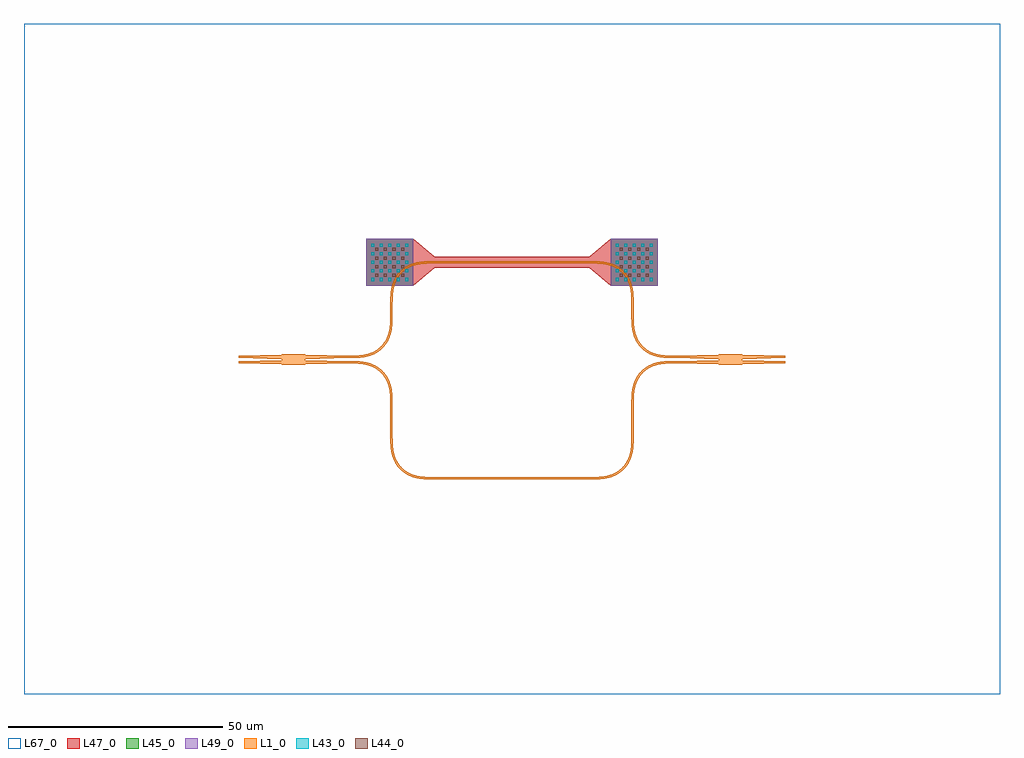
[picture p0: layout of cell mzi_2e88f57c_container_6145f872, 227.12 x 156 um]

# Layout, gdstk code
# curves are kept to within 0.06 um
from math import pi, radians
import gdstk
lib = gdstk.Library(unit=1e-6, precision=1e-09)
def R(c, l, rs):  # rectangles x0, y0, x1, y1
    for r in rs: c.add(gdstk.rectangle(r[:2], r[2:], *l))
def P(c, l, *ps):  # polygons
    for p in ps: c.add(gdstk.Polygon(p, *l))
L1_0 = (1, 0)
L43_0 = (43, 0)
L44_0 = (44, 0)
L45_0 = (45, 0)
L47_0 = (47, 0)
L49_0 = (49, 0)
L67_0 = (67, 0)

mmi2x2 = lib.new_cell('mmi2x2')
R(mmi2x2, L1_0, [(0,-1.25,5.5,1.25)])
P(mmi2x2, L1_0, [(-10,-0.375),(0,-0.125),(0,-1.125),(-10,-0.875)],
  [(-10,0.875),(0,1.125),(0,0.125),(-10,0.375)],
  [(15.5,0.375),(5.5,0.125),(5.5,1.125),(15.5,0.875)],
  [(15.5,-0.875),(5.5,-1.125),(5.5,-0.125),(15.5,-0.375)])

bend_euler = lib.new_cell('bend_euler')
P(bend_euler, L1_0, [(0,-0.25),(2.795,-0.158),(4.746,0.203),(5.688,0.543),(6.455,0.934),(7.285,1.5),(7.928,2.072),(8.5,2.715),(9.066,3.545),(9.457,4.312),(9.797,5.254),(10.158,7.205),(10.25,10),(9.75,10),(9.647,7.119),(9.48,6.048),(9.194,5.01),(8.495,3.569),(7.575,2.425),(6.431,1.505),(4.99,0.806),(3.952,0.52),(2.881,0.353),(0,0.25)])

straight_length7p0 = lib.new_cell('straight_length7p0')
R(straight_length7p0, L1_0, [(0,-0.25,7,0.25)])

straight_length0p1 = lib.new_cell('straight_length0p1')
R(straight_length0p1, L1_0, [(0,-0.25,0.1,0.25)])

straight_length2p0 = lib.new_cell('straight_length2p0')
R(straight_length2p0, L1_0, [(0,-0.25,2,0.25)])

straight_add_pinsfalse_l = lib.new_cell('straight_add_pinsFalse_length0p1')
R(straight_add_pinsfalse_l, L1_0, [(0,-0.25,0.1,0.25)])

straight_6e0386c1 = lib.new_cell('straight_6e0386c1')
R(straight_6e0386c1, L1_0, [(0,-0.25,17.95,0.25)])
R(straight_6e0386c1, L47_0, [(0,-1.25,17.95,1.25)])

component_sequence_a6803 = lib.new_cell('component_sequence_a6803755')
component_sequence_a6803.add(gdstk.Reference(straight_add_pinsfalse_l, (0,0)))
component_sequence_a6803.add(gdstk.Reference(straight_6e0386c1, (0.1,0)))
component_sequence_a6803.add(gdstk.Reference(straight_6e0386c1, (18.05,0)))
component_sequence_a6803.add(gdstk.Reference(straight_add_pinsfalse_l, (36,0)))

compass_d8224c77 = lib.new_cell('compass_d8224c77')
R(compass_d8224c77, L47_0, [(-5.5,-5.5,5.5,5.5)])

compass_layerm2_size11p0 = lib.new_cell('compass_layerM2_size11p0__11p0')
R(compass_layerm2_size11p0, L45_0, [(-5.5,-5.5,5.5,5.5)])

compass_layermtop_size11 = lib.new_cell('compass_layerMTOP_size11p0__11p0')
R(compass_layermtop_size11, L49_0, [(-5.5,-5.5,5.5,5.5)])

via_enclosure2_layervia1 = lib.new_cell('via_enclosure2_layerVIA1')
R(via_enclosure2_layervia1, L44_0, [(-0.35,-0.35,0.35,0.35)])

via_layervia2 = lib.new_cell('via_layerVIA2')
R(via_layervia2, L43_0, [(-0.35,-0.35,0.35,0.35)])

via_stack_64ed2af4 = lib.new_cell('via_stack_64ed2af4')
via_stack_64ed2af4.add(gdstk.Reference(compass_d8224c77, (0,0)))
via_stack_64ed2af4.add(gdstk.Reference(compass_layerm2_size11p0, (0,0)))
via_stack_64ed2af4.add(gdstk.Reference(compass_layermtop_size11, (0,0)))
r = gdstk.Reference(via_enclosure2_layervia1, (-3,-3)); r.repetition = gdstk.Repetition(4, 4, v1=(2,0), v2=(0,2)); via_stack_64ed2af4.add(r)
r = gdstk.Reference(via_layervia2, (-4,-4)); r.repetition = gdstk.Repetition(5, 5, v1=(2,0), v2=(0,2)); via_stack_64ed2af4.add(r)

taper_724fbfc5 = lib.new_cell('taper_724fbfc5')
P(taper_724fbfc5, L47_0, [(0,5.5),(5,1.25),(5,-1.25),(0,-5.5)])

straight_heater_metal_un = lib.new_cell('straight_heater_metal_undercut_7c702180')
straight_heater_metal_un.add(gdstk.Reference(component_sequence_a6803, (0,0)))
straight_heater_metal_un.add(gdstk.Reference(via_stack_64ed2af4, (-10.4,0)))
straight_heater_metal_un.add(gdstk.Reference(via_stack_64ed2af4, (46.5,0)))
straight_heater_metal_un.add(gdstk.Reference(taper_724fbfc5, (-4.9,0)))
straight_heater_metal_un.add(gdstk.Reference(taper_724fbfc5, (41,0), rotation=pi))

bend_euler_bfe3acbc = lib.new_cell('bend_euler_bfe3acbc')
P(bend_euler_bfe3acbc, L1_0, [(0,-0.25),(2.795,-0.158),(4.746,0.203),(5.688,0.543),(6.455,0.934),(7.285,1.5),(7.928,2.072),(8.5,2.715),(9.066,3.545),(9.457,4.312),(9.797,5.254),(10.158,7.205),(10.25,10),(9.75,10),(9.647,7.119),(9.48,6.048),(9.194,5.01),(8.495,3.569),(7.575,2.425),(6.431,1.505),(4.99,0.806),(3.952,0.52),(2.881,0.353),(0,0.25)])

straight_c32ff59b = lib.new_cell('straight_c32ff59b')
R(straight_c32ff59b, L1_0, [(0,-0.25,0.01,0.25)])

straight_8ff7e57c = lib.new_cell('straight_8ff7e57c')
R(straight_8ff7e57c, L1_0, [(0,-0.25,2,0.25)])

straight_1a78eb69 = lib.new_cell('straight_1a78eb69')
R(straight_1a78eb69, L1_0, [(0,-0.25,36.01,0.25)])

straight_bff6b4c5 = lib.new_cell('straight_bff6b4c5')
R(straight_bff6b4c5, L1_0, [(0,-0.25,7,0.25)])

mzi_2e88f57c = lib.new_cell('mzi_2e88f57c')
mzi_2e88f57c.add(gdstk.Reference(mmi2x2, (0,0)))
mzi_2e88f57c.add(gdstk.Reference(mmi2x2, (107.12,0), rotation=pi, x_reflection=True))
mzi_2e88f57c.add(gdstk.Reference(bend_euler, (15.5,-0.625), x_reflection=True))
mzi_2e88f57c.add(gdstk.Reference(straight_length7p0, (25.5,-10.625), rotation=3*pi/2))
mzi_2e88f57c.add(gdstk.Reference(bend_euler, (25.5,-17.625), rotation=3*pi/2))
mzi_2e88f57c.add(gdstk.Reference(straight_length0p1, (35.5,-27.625)))
mzi_2e88f57c.add(gdstk.Reference(bend_euler, (15.5,0.625)))
mzi_2e88f57c.add(gdstk.Reference(straight_length2p0, (25.5,10.625), rotation=pi/2))
mzi_2e88f57c.add(gdstk.Reference(bend_euler, (35.5,22.625), rotation=pi))
mzi_2e88f57c.add(gdstk.Reference(straight_heater_metal_un, (35.5,22.625)))
mzi_2e88f57c.add(gdstk.Reference(bend_euler_bfe3acbc, (71.61,22.625), x_reflection=True))
mzi_2e88f57c.add(gdstk.Reference(bend_euler_bfe3acbc, (81.61,10.625), rotation=3*pi/2))
mzi_2e88f57c.add(gdstk.Reference(straight_c32ff59b, (71.6,22.625)))
mzi_2e88f57c.add(gdstk.Reference(straight_8ff7e57c, (81.61,12.625), rotation=3*pi/2))
mzi_2e88f57c.add(gdstk.Reference(straight_c32ff59b, (91.61,0.625)))
mzi_2e88f57c.add(gdstk.Reference(bend_euler_bfe3acbc, (71.61,-27.625)))
mzi_2e88f57c.add(gdstk.Reference(bend_euler_bfe3acbc, (81.61,-10.625), rotation=pi/2, x_reflection=True))
mzi_2e88f57c.add(gdstk.Reference(straight_1a78eb69, (35.6,-27.625)))
mzi_2e88f57c.add(gdstk.Reference(straight_bff6b4c5, (81.61,-17.625), rotation=pi/2))
mzi_2e88f57c.add(gdstk.Reference(straight_c32ff59b, (91.61,-0.625)))

mzi_2e88f57c_container_6 = lib.new_cell('mzi_2e88f57c_container_6145f872')
R(mzi_2e88f57c_container_6, L67_0, [(-60,-77.875,167.12,78.125)])
mzi_2e88f57c_container_6.add(gdstk.Reference(mzi_2e88f57c, (0,0)))

lib.write_gds('mzi_2e88f57c_container_6145f872.gds')
